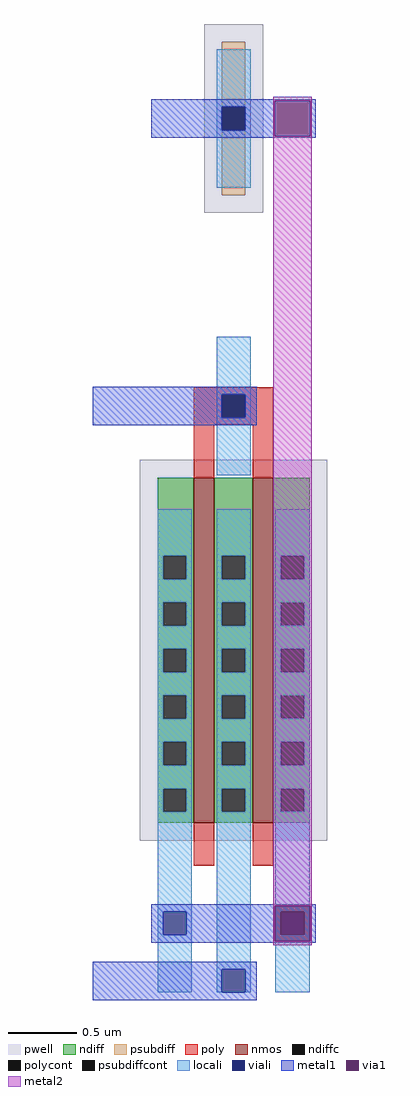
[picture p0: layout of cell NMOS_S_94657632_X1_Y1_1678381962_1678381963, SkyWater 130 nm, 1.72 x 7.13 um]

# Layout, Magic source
magic
tech sky130A
magscale 1 2
<< pwell >>
rect 215 1206 301 1482
rect 121 289 395 845
<< nmos >>
rect 200 315 230 819
rect 286 315 316 819
<< ndiff >>
rect 147 705 200 819
rect 147 671 155 705
rect 189 671 200 705
rect 147 637 200 671
rect 147 603 155 637
rect 189 603 200 637
rect 147 569 200 603
rect 147 535 155 569
rect 189 535 200 569
rect 147 501 200 535
rect 147 467 155 501
rect 189 467 200 501
rect 147 433 200 467
rect 147 399 155 433
rect 189 399 200 433
rect 147 365 200 399
rect 147 331 155 365
rect 189 331 200 365
rect 147 315 200 331
rect 230 705 286 819
rect 230 671 241 705
rect 275 671 286 705
rect 230 637 286 671
rect 230 603 241 637
rect 275 603 286 637
rect 230 569 286 603
rect 230 535 241 569
rect 275 535 286 569
rect 230 501 286 535
rect 230 467 241 501
rect 275 467 286 501
rect 230 433 286 467
rect 230 399 241 433
rect 275 399 286 433
rect 230 365 286 399
rect 230 331 241 365
rect 275 331 286 365
rect 230 315 286 331
rect 316 705 369 819
rect 316 671 327 705
rect 361 671 369 705
rect 316 637 369 671
rect 316 603 327 637
rect 361 603 369 637
rect 316 569 369 603
rect 316 535 327 569
rect 361 535 369 569
rect 316 501 369 535
rect 316 467 327 501
rect 361 467 369 501
rect 316 433 369 467
rect 316 399 327 433
rect 361 399 369 433
rect 316 365 369 399
rect 316 331 327 365
rect 361 331 369 365
rect 316 315 369 331
<< ndiffc >>
rect 155 671 189 705
rect 155 603 189 637
rect 155 535 189 569
rect 155 467 189 501
rect 155 399 189 433
rect 155 331 189 365
rect 241 671 275 705
rect 241 603 275 637
rect 241 535 275 569
rect 241 467 275 501
rect 241 399 275 433
rect 241 331 275 365
rect 327 671 361 705
rect 327 603 361 637
rect 327 535 361 569
rect 327 467 361 501
rect 327 399 361 433
rect 327 331 361 365
<< psubdiff >>
rect 241 1361 275 1456
rect 241 1232 275 1327
<< psubdiffcont >>
rect 241 1327 275 1361
<< poly >>
rect 200 941 316 951
rect 200 907 241 941
rect 275 907 316 941
rect 200 897 316 907
rect 200 819 230 897
rect 286 819 316 897
rect 200 252 230 315
rect 286 252 316 315
<< polycont >>
rect 241 907 275 941
<< locali >>
rect 233 1361 283 1445
rect 233 1327 241 1361
rect 275 1327 283 1361
rect 233 1243 283 1327
rect 233 941 283 1025
rect 233 907 241 941
rect 275 907 283 941
rect 233 823 283 907
rect 147 705 197 773
rect 147 671 155 705
rect 189 671 197 705
rect 147 637 197 671
rect 147 603 155 637
rect 189 603 197 637
rect 147 569 197 603
rect 147 535 155 569
rect 189 535 197 569
rect 147 501 197 535
rect 147 467 155 501
rect 189 467 197 501
rect 147 433 197 467
rect 147 399 155 433
rect 189 399 197 433
rect 147 365 197 399
rect 147 331 155 365
rect 189 331 197 365
rect 147 185 197 331
rect 147 151 155 185
rect 189 151 197 185
rect 147 67 197 151
rect 233 705 283 773
rect 233 671 241 705
rect 275 671 283 705
rect 233 637 283 671
rect 233 603 241 637
rect 275 603 283 637
rect 233 569 283 603
rect 233 535 241 569
rect 275 535 283 569
rect 233 501 283 535
rect 233 467 241 501
rect 275 467 283 501
rect 233 433 283 467
rect 233 399 241 433
rect 275 399 283 433
rect 233 365 283 399
rect 233 331 241 365
rect 275 331 283 365
rect 233 101 283 331
rect 233 67 241 101
rect 275 67 283 101
rect 319 705 369 773
rect 319 671 327 705
rect 361 671 369 705
rect 319 637 369 671
rect 319 603 327 637
rect 361 603 369 637
rect 319 569 369 603
rect 319 535 327 569
rect 361 535 369 569
rect 319 501 369 535
rect 319 467 327 501
rect 361 467 369 501
rect 319 433 369 467
rect 319 399 327 433
rect 361 399 369 433
rect 319 365 369 399
rect 319 331 327 365
rect 361 331 369 365
rect 319 185 369 331
rect 319 151 327 185
rect 361 151 369 185
rect 319 67 369 151
<< viali >>
rect 241 1327 275 1361
rect 241 907 275 941
rect 155 151 189 185
rect 241 67 275 101
rect 327 151 361 185
<< metal1 >>
rect 138 1370 378 1372
rect 138 1361 318 1370
rect 138 1327 241 1361
rect 275 1327 318 1361
rect 138 1318 318 1327
rect 370 1318 378 1370
rect 138 1316 378 1318
rect 52 941 292 952
rect 52 907 241 941
rect 275 907 292 941
rect 52 896 292 907
rect 138 194 378 196
rect 138 185 318 194
rect 138 151 155 185
rect 189 151 318 185
rect 138 142 318 151
rect 370 142 378 194
rect 138 140 378 142
rect 52 101 292 112
rect 52 67 241 101
rect 275 67 292 101
rect 52 56 292 67
<< via1 >>
rect 318 1318 370 1370
rect 318 185 370 194
rect 318 151 327 185
rect 327 151 361 185
rect 361 151 370 185
rect 318 142 370 151
<< metal2 >>
rect 316 1370 372 1376
rect 316 1318 318 1370
rect 370 1318 372 1370
rect 316 194 372 1318
rect 316 142 318 194
rect 370 142 372 194
rect 316 136 372 142
<< end >>
